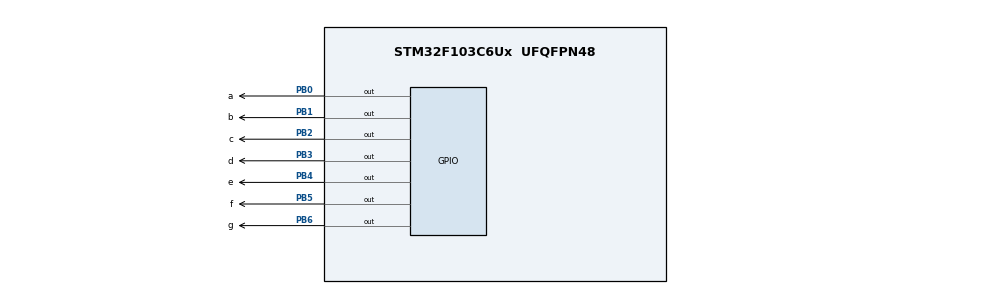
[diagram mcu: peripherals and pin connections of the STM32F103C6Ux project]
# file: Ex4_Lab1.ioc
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Mcu.Family=STM32F1
Mcu.Name=STM32F103C6Ux
Mcu.Package=UFQFPN48
NVIC.PriorityGroup=NVIC_PRIORITYGROUP_4
PB0.GPIO_Label=a
PB0.Signal=GPIO_Output
PB1.GPIO_Label=b
PB1.Signal=GPIO_Output
PB2.GPIO_Label=c
PB2.Signal=GPIO_Output
PB3.GPIO_Label=d
PB3.Signal=GPIO_Output
PB4.GPIO_Label=e
PB4.Signal=GPIO_Output
PB5.GPIO_Label=f
PB5.Signal=GPIO_Output
PB6.GPIO_Label=g
PB6.Signal=GPIO_Output
ProjectManager.HeapSize=0x200
ProjectManager.StackSize=0x400
ProjectManager.TargetToolchain=STM32CubeIDE
RCC.APB1Freq_Value=8000000
RCC.APB2Freq_Value=8000000
VP_SYS_VS_ND.Mode=No_Debug
board=custom

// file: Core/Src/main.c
/* USER CODE BEGIN Header */
/**
 ******************************************************************************
 * @file           : main.c
 * @brief          : Main program body
 ******************************************************************************
 * @attention
 *
 * <h2><center>&copy; Copyright (c) 2025 STMicroelectronics.
 * All rights reserved.</center></h2>
 *
 * This software component is licensed by ST under BSD 3-Clause license,
 * the "License"; You may not use this file except in compliance with the
 * License. You may obtain a copy of the License at:
 *                        opensource.org/licenses/BSD-3-Clause
 *
 ******************************************************************************
 */
/* USER CODE END Header */
#include "main.h"

void SystemClock_Config(void);
static void MX_GPIO_Init(void);

/* USER CODE BEGIN 0 */
void display7SEG(int);
/* USER CODE END 0 */

int main(void) {

	/* MCU Configuration--------------------------------------------------------*/

	/* Reset of all peripherals, Initializes the Flash interface and the Systick. */
	HAL_Init();

	/* Configure the system clock */
	SystemClock_Config();

	/* Initialize all configured peripherals */
	MX_GPIO_Init();
	/* USER CODE BEGIN 2 */
	int counter = 0;
	/* USER CODE END 2 */

	/* Infinite loop */

	/* USER CODE BEGIN WHILE */
	while (1) {

		if (counter >= 10)
			counter = 0;
		display7SEG(counter++);
		HAL_Delay(1000);
		/* USER CODE END WHILE */

	}
}

void SystemClock_Config(void) {
	RCC_OscInitTypeDef RCC_OscInitStruct = { 0 };
	RCC_ClkInitTypeDef RCC_ClkInitStruct = { 0 };

	/** Initializes the RCC Oscillators according to the specified parameters
	 * in the RCC_OscInitTypeDef structure.
	 */
	RCC_OscInitStruct.OscillatorType = RCC_OSCILLATORTYPE_HSI;
	RCC_OscInitStruct.HSIState = RCC_HSI_ON;
	RCC_OscInitStruct.HSICalibrationValue = RCC_HSICALIBRATION_DEFAULT;
	RCC_OscInitStruct.PLL.PLLState = RCC_PLL_NONE;
	if (HAL_RCC_OscConfig(&RCC_OscInitStruct) != HAL_OK) {
		Error_Handler();
	}
	/** Initializes the CPU, AHB and APB buses clocks
	 */
	RCC_ClkInitStruct.ClockType = RCC_CLOCKTYPE_HCLK | RCC_CLOCKTYPE_SYSCLK
			| RCC_CLOCKTYPE_PCLK1 | RCC_CLOCKTYPE_PCLK2;
	RCC_ClkInitStruct.SYSCLKSource = RCC_SYSCLKSOURCE_HSI;
	RCC_ClkInitStruct.AHBCLKDivider = RCC_SYSCLK_DIV1;
	RCC_ClkInitStruct.APB1CLKDivider = RCC_HCLK_DIV1;
	RCC_ClkInitStruct.APB2CLKDivider = RCC_HCLK_DIV1;

	if (HAL_RCC_ClockConfig(&RCC_ClkInitStruct, FLASH_LATENCY_0) != HAL_OK) {
		Error_Handler();
	}
}

static void MX_GPIO_Init(void) {
	GPIO_InitTypeDef GPIO_InitStruct = { 0 };

	/* GPIO Ports Clock Enable */
	__HAL_RCC_GPIOB_CLK_ENABLE();

	/*Configure GPIO pin Output Level */
	HAL_GPIO_WritePin(GPIOB,
			a_Pin | b_Pin | c_Pin | d_Pin | e_Pin | f_Pin | g_Pin,
			GPIO_PIN_RESET);

	/*Configure GPIO pins : a_Pin b_Pin c_Pin d_Pin
	 e_Pin f_Pin g_Pin */
	GPIO_InitStruct.Pin = a_Pin | b_Pin | c_Pin | d_Pin | e_Pin | f_Pin | g_Pin;
	GPIO_InitStruct.Mode = GPIO_MODE_OUTPUT_PP;
	GPIO_InitStruct.Pull = GPIO_NOPULL;
	GPIO_InitStruct.Speed = GPIO_SPEED_FREQ_LOW;
	HAL_GPIO_Init(GPIOB, &GPIO_InitStruct);

}

/* USER CODE BEGIN 4 */
void display7SEG(int num) {

    const uint8_t seg_pattern[10][7] = {
        {0,0,0,0,0,0,1}, // 0
        {1,0,0,1,1,1,1}, // 1
        {0,0,1,0,0,1,0}, // 2
        {0,0,0,0,1,1,0}, // 3
        {1,0,0,1,1,0,0}, // 4
        {0,1,0,0,1,0,0}, // 5
        {0,1,0,0,0,0,0}, // 6
        {0,0,0,1,1,1,1}, // 7
        {0,0,0,0,0,0,0}, // 8
        {0,0,0,0,1,0,0}  // 9
    };

    uint16_t pins[7] = {a_Pin, b_Pin, c_Pin, d_Pin, e_Pin, f_Pin, g_Pin};

    if (num < 0 || num > 9) num = 0;

    for (int i = 0; i < 7; i++) {
        HAL_GPIO_WritePin(GPIOB, pins[i], seg_pattern[num][i]);
    }
}
/* USER CODE END 4 */

void Error_Handler(void) {
	__disable_irq();
	while (1) {
	}
}

/************************ (C) COPYRIGHT STMicroelectronics *****END OF FILE****/
